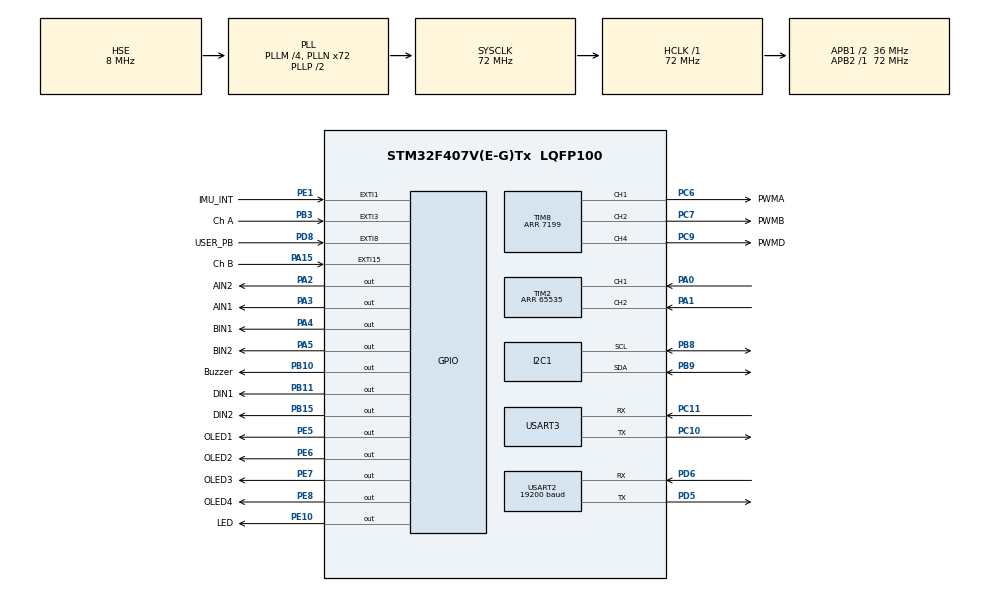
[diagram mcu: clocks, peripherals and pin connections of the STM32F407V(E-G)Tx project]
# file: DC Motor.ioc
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Mcu.Family=STM32F4
Mcu.Name=STM32F407V(E-G)Tx
Mcu.Package=LQFP100
NVIC.EXTI15_10_IRQn=true\:0\:0\:false\:false\:true\:true\:true\:true
NVIC.EXTI1_IRQn=true\:0\:0\:false\:false\:true\:true\:true\:true
NVIC.EXTI3_IRQn=true\:0\:0\:false\:false\:true\:true\:true\:true
NVIC.EXTI9_5_IRQn=true\:0\:0\:false\:false\:true\:true\:true\:true
NVIC.PriorityGroup=NVIC_PRIORITYGROUP_4
NVIC.RCC_IRQn=true\:0\:0\:false\:false\:true\:true\:false\:true
NVIC.TIM2_IRQn=true\:0\:0\:false\:false\:true\:true\:true\:true
NVIC.USART2_IRQn=true\:0\:0\:false\:false\:true\:true\:true\:true
PA0-WKUP.Signal=S_TIM2_CH1_ETR
PA1.Signal=S_TIM2_CH2
PA13.Mode=Serial_Wire
PA13.Signal=SYS_JTMS-SWDIO
PA14.Mode=Serial_Wire
PA14.Signal=SYS_JTCK-SWCLK
PA15.GPIO_Label=Ch B
PA15.GPIO_ModeDefaultEXTI=GPIO_MODE_IT_RISING_FALLING
PA15.Signal=GPXTI15
PA2.GPIO_Label=AIN2
PA2.Signal=GPIO_Output
PA3.GPIO_Label=AIN1
PA3.Signal=GPIO_Output
PA4.GPIO_Label=BIN1
PA4.Signal=GPIO_Output
PA5.GPIO_Label=BIN2
PA5.Signal=GPIO_Output
PB10.GPIO_Label=Buzzer
PB10.Signal=GPIO_Output
PB11.GPIO_Label=DIN1
PB11.Signal=GPIO_Output
PB15.GPIO_Label=DIN2
PB15.Signal=GPIO_Output
PB3.GPIO_Label=Ch A
PB3.GPIO_ModeDefaultEXTI=GPIO_MODE_IT_RISING_FALLING
PB3.Signal=GPXTI3
PB8.Mode=I2C
PB8.Signal=I2C1_SCL
PB9.Mode=I2C
PB9.Signal=I2C1_SDA
PC10.Mode=Asynchronous
PC10.Signal=USART3_TX
PC11.Mode=Asynchronous
PC11.Signal=USART3_RX
PC6.GPIO_Label=PWMA
PC6.Signal=S_TIM8_CH1
PC7.GPIO_Label=PWMB
PC7.Signal=S_TIM8_CH2
PC9.GPIO_Label=PWMD
PC9.Signal=S_TIM8_CH4
PD5.Mode=Asynchronous
PD5.Signal=USART2_TX
PD6.Mode=Asynchronous
PD6.Signal=USART2_RX
PD8.GPIO_Label=USER_PB
PD8.GPIO_ModeDefaultEXTI=GPIO_MODE_IT_RISING
PD8.Signal=GPXTI8
PE1.GPIO_Label=IMU_INT
PE1.Signal=GPXTI1
PE10.GPIO_Label=LED
PE10.Signal=GPIO_Output
PE5.GPIO_Label=OLED1
PE5.Signal=GPIO_Output
PE6.GPIO_Label=OLED2
PE6.Signal=GPIO_Output
PE7.GPIO_Label=OLED3
PE7.Signal=GPIO_Output
PE8.GPIO_Label=OLED4
PE8.Signal=GPIO_Output
PH0-OSC_IN.Mode=HSE-External-Oscillator
PH0-OSC_IN.Signal=RCC_OSC_IN
PH1-OSC_OUT.Mode=HSE-External-Oscillator
PH1-OSC_OUT.Signal=RCC_OSC_OUT
ProjectManager.HeapSize=0x200
ProjectManager.StackSize=0x400
ProjectManager.TargetToolchain=STM32CubeIDE
RCC.48MHZClocksFreq_Value=36000000
RCC.AHBFreq_Value=72000000
RCC.APB1CLKDivider=RCC_HCLK_DIV2
RCC.APB1Freq_Value=36000000
RCC.APB1TimFreq_Value=72000000
RCC.APB2Freq_Value=72000000
RCC.APB2TimFreq_Value=72000000
RCC.CortexFreq_Value=72000000
RCC.HCLKFreq_Value=72000000
RCC.HSE_VALUE=8000000
RCC.HSI_VALUE=16000000
RCC.LSE_VALUE=32768
RCC.PLLM=4
RCC.PLLN=72
RCC.PLLSourceVirtual=RCC_PLLSOURCE_HSE
RCC.SYSCLKFreq_VALUE=72000000
RCC.SYSCLKSource=RCC_SYSCLKSOURCE_PLLCLK
RCC.VCOOutputFreq_Value=144000000
SH.S_TIM2_CH1_ETR.0=TIM2_CH1,Encoder_Interface
SH.S_TIM2_CH2.0=TIM2_CH2,Encoder_Interface
SH.S_TIM8_CH1.0=TIM8_CH1,PWM Generation1 CH1
SH.S_TIM8_CH2.0=TIM8_CH2,PWM Generation2 CH2
SH.S_TIM8_CH4.0=TIM8_CH4,PWM Generation4 CH4
TIM2.AutoReloadPreload=TIM_AUTORELOAD_PRELOAD_DISABLE
TIM2.EncoderMode=TIM_ENCODERMODE_TI12
TIM2.IC1Filter=10
TIM2.IC1Polarity=TIM_ICPOLARITY_FALLING
TIM2.IC2Filter=10
TIM2.IC2Polarity=TIM_ICPOLARITY_FALLING
TIM2.Period=65535
TIM8.Channel-PWM\ Generation1\ CH1=TIM_CHANNEL_1
TIM8.Channel-PWM\ Generation2\ CH2=TIM_CHANNEL_2
TIM8.Channel-PWM\ Generation4\ CH4=TIM_CHANNEL_4
TIM8.Period=7199
USART2.BaudRate=19200
USART2.VirtualMode=VM_ASYNC
USART3.VirtualMode=VM_ASYNC
VP_TIM8_VS_ClockSourceINT.Mode=Internal
board=custom

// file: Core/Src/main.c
/* USER CODE BEGIN Header */
/**
  ******************************************************************************
  * @file           : main.c
  * @brief          : Main program body
  ******************************************************************************
  * @attention
  *
  * Copyright (c) 2022 STMicroelectronics.
  * All rights reserved.
  *
  * This software is licensed under terms that can be found in the LICENSE file
  * in the root directory of this software component.
  * If no LICENSE file comes with this software, it is provided AS-IS.
  *
  ******************************************************************************
  */
/* USER CODE END Header */
#include "main.h"

/* USER CODE BEGIN Includes */
#include "oled.h"
#include <math.h>
#include <stdlib.h>
/* USER CODE END Includes */

 I2C_HandleTypeDef hi2c1;

TIM_HandleTypeDef htim2;
TIM_HandleTypeDef htim8;

UART_HandleTypeDef huart2;
UART_HandleTypeDef huart3;

/* USER CODE BEGIN PV */
#include "oled.h"
#include <math.h>

/* USER CODE END PV */

void SystemClock_Config(void);
static void MX_GPIO_Init(void);
static void MX_I2C1_Init(void);
static void MX_USART3_UART_Init(void);
static void MX_TIM8_Init(void);
static void MX_TIM2_Init(void);
static void MX_USART2_UART_Init(void);

/* USER CODE BEGIN 0 */

uint32_t counter = 0;    // Timer 2 counter
int16_t count = 0;       // Convert counter to signed value
int16_t no_of_tick = 50; // number of tick used in SysTick to calculate speed, in msec
int16_t speed =0;        // speed in term of number of edges detected per Systick
int16_t rpm = 0;         // speed in rpm number of count/sec * 60 sec  divide by 260 count per round
int start=0;             // use to start stop the motor
int16_t pwmVal=0;       //pwm value to control motor speed
int16_t pwmMax = (7200 -1000); // Maximum PWM value = 7200 keep the maximum value too 7000
int err; // status for checking return

char buf[10];    //buffer for displaying values on OLED display

int16_t position = 0;    // position of the motor (1 rotation = 260 count)
extern int16_t oldpos;    // // see SysTick_Handler in stm32f4xx_it.c
int16_t angle = 0;        // angle of rotation, in degree resolution = 360/260
int16_t target_angle = 0; // target angle of rotation,
int16_t position_target; // target position
int16_t error;           // error between target and actual
int32_t error_area = 0;  // area under error - to calculate I for PI implementation
int32_t error_old, error_change;
float_t error_rate; // to calculate D for PID control
int32_t millisOld, millisNow, dt; // to calculate I and D for PID control
int16_t Kp = 0;
float_t Kd = 0;
float_t Ki = 0;

void HAL_TIM_IC_CaptureCallback(TIM_HandleTypeDef *htim){
	counter = __HAL_TIM_GET_COUNTER(htim);
	count = (int16_t)counter;
	position = count/4;  //x1 Encoding
	angle = count/2; // x2 encoding
}

void HAL_GPIO_EXTI_Callback( uint16_t GPIO_Pin ) {

	if ( GPIO_Pin == USER_PB_Pin) {
		// toggle LED
		HAL_GPIO_TogglePin(GPIOE, GPIO_PIN_10); // LED
		if (start == 0){
			start = 1;
		    // reset all value to Zero
		    TIM2->CNT = 0; // Timer Counter Value
		    speed = 0;
		    position = 0;  // see SysTick_Handler in stm32f4xx_it.c
		    oldpos = 0; // see SysTick_Handler in stm32f4xx_it.c
		    angle = 0;
		    pwmVal = 0;
		    }
		else
			start = 0;
 	    }
}

void Motor_direction(uint8_t forward) {
	if (forward){// move forward
		HAL_GPIO_WritePin(GPIOA, AIN1_Pin, GPIO_PIN_SET); // set direction of rotation for wheel A - forward
		HAL_GPIO_WritePin(GPIOA, AIN2_Pin, GPIO_PIN_RESET);
		HAL_GPIO_WritePin(GPIOA, BIN1_Pin, GPIO_PIN_SET); // set direction of rotation for wheel B- forward
		HAL_GPIO_WritePin(GPIOA, BIN2_Pin, GPIO_PIN_RESET);
		HAL_GPIO_WritePin(GPIOB, DIN1_Pin, GPIO_PIN_SET); // set direction of rotation for wheel D- forward
		HAL_GPIO_WritePin(GPIOB, DIN2_Pin, GPIO_PIN_RESET);
	  }
	else { // reverse
	    HAL_GPIO_WritePin(GPIOA, AIN1_Pin, GPIO_PIN_RESET); // set direction of rotation for wheel A - reverse
		HAL_GPIO_WritePin(GPIOA, AIN2_Pin, GPIO_PIN_SET);
	    HAL_GPIO_WritePin(GPIOA, AIN1_Pin, GPIO_PIN_RESET); // set direction of rotation for wheel B - reverse
		HAL_GPIO_WritePin(GPIOA, AIN2_Pin, GPIO_PIN_SET);
		HAL_GPIO_WritePin(GPIOB, DIN1_Pin, GPIO_PIN_RESET); // set direction of rotation for wheel D- reverse
		HAL_GPIO_WritePin(GPIOB, DIN2_Pin, GPIO_PIN_SET);
	}
}

void check_Hall(void){
     while(1){ //checking hall sensor count per revolution on  MotorD connector
		  OLED_ShowString(0, 0, "Encoder Ticks ");
		  //OLED_ShowString(0, 10, "(per turn)");
		  sprintf(buf, "%6d", ((TIM2->CNT)>>2)); // divide by 4 due to 4 edges/interrupts per pole transition
		  OLED_ShowString(25, 10, buf);
		  angle = (int)(position*360/260);
		  OLED_ShowString(0, 30, "Angle = ");
		  sprintf(buf, "%4d", angle);//Hall Sensor = 26 poles/13 pulses, DC motor = 20x13 = 260 pulse per revolution
		  OLED_ShowString(55, 30, buf);
		  OLED_ShowString(0, 50, "Speed =    rpm"); // see SysTick_Handler in stm32f4xx_it.c
		  sprintf(buf, "%4d", speed);//Hall Sensor = 18 poles/9pulses, DC motor = 20x9 = 180 pulse per revolution
		  OLED_ShowString(55, 50, buf);
		  OLED_Refresh_Gram();
	  }
}

int16_t PID_Control(){
	  //Control Loop
	  if (abs(error)>2){ //more than 2 degree difference
		  //HAL_GPIO_TogglePin(GPIOB, GPIO_PIN_10); //Buzzer
    	  angle = (int)(position*360/265);  // supposed to be 260 tick per revolution?
  	      error = target_angle - angle;

        if (error > 0)
      	  Motor_direction(1); //forward
        else
      	  Motor_direction(0); //reverse direction

        millisNow = HAL_GetTick();
        dt = (millisNow - millisOld); // time elapsed in millisecond
        millisOld = millisNow; // store the current time for next round

        error_area = error_area + error*dt; // area under error for Ki

        error_change = error - error_old; // change in error
  	    error_old = error; //store the error for next round
        error_rate = error_change/dt; // for Kd

		pwmVal = (int)(error*Kp + error_area*Ki + error_rate*Kd);  // PID

  	  //pwmVal = 2000;   // overwrite PID above, minimum pwmVal = 1000

		if (pwmVal > pwmMax)  // Clamp the PWM to its maximum value
		   pwmVal = pwmMax;

		return(pwmVal);
    	//__HAL_TIM_SetCompare(&htim8,TIM_CHANNEL_4,pwmVal); // output the valie
	    } // if loop
}

void serial_uart(){
	 // send the values to serial port for display
		  angle = (int)(position*360/265);
		  sprintf(buf, "%4d", angle); //Hall Sensor = 26 poles/13 pulses, DC motor = 20x13 = 260 pulse per revolution
	      OLED_ShowString(50, 10, buf);
	      //send to serial port
	      HAL_UART_Transmit(&huart3, buf, 4, HAL_MAX_DELAY); // Send to Uart3 USB port

	      buf[0]=',';
	      HAL_UART_Transmit(&huart3, buf, 1, HAL_MAX_DELAY); // Send to Uart3 USB port
	      sprintf(buf, "%4d", target_angle);
	   	  HAL_UART_Transmit(&huart3, buf, 4, HAL_MAX_DELAY); // Send to Uart3 USB port

	   	  buf[0]=',';
	   	  HAL_UART_Transmit(&huart3, buf, 1, HAL_MAX_DELAY); // Send to Uart3 USB port
	   	  sprintf(buf, "%4d", error);
	   	  HAL_UART_Transmit(&huart3, buf, 4, HAL_MAX_DELAY); // Send to Uart3 USB port

	   	  buf[0]=',';
	      HAL_UART_Transmit(&huart3, buf, 1, HAL_MAX_DELAY); // Send to Uart3 USB port
	      sprintf(buf, "%4d", pwmVal);
	      HAL_UART_Transmit(&huart3, buf, 4, HAL_MAX_DELAY); // Send to Uart3 USB port
	      OLED_ShowString(40, 20, buf);
	      OLED_Refresh_Gram();

	   	  buf[0]=',';
	   	  HAL_UART_Transmit(&huart3, buf, 1, HAL_MAX_DELAY); // Send to Uart3 USB port
	   	  sprintf(buf, "%5d", error_area);
	   	  HAL_UART_Transmit(&huart3, buf, 5, HAL_MAX_DELAY); // Send to Uart3 USB port

	   	  buf[0]=',';
	   	  HAL_UART_Transmit(&huart3, buf, 1, HAL_MAX_DELAY); // Send to Uart3 USB port
	   	  sprintf(buf, "%3d", err);
	   	  HAL_UART_Transmit(&huart3, buf, 3, HAL_MAX_DELAY); // Send to Uart3 USB port

	   	  buf[0]=',';
	   	  HAL_UART_Transmit(&huart3, buf, 1, HAL_MAX_DELAY); // Send to Uart3 USB port
	   	  sprintf(buf, "%3d", error_rate);
	   	  HAL_UART_Transmit(&huart3, buf, 3, HAL_MAX_DELAY); // Send to Uart3 USB port

	   	  buf[0] = '\r';
	   	  buf[1] = '\n';  // move to next line on serial port
	   	  HAL_UART_Transmit(&huart3, buf, 2, HAL_MAX_DELAY); // Send through BT @9600
}

/* USER CODE END 0 */

int main(void)
{
  /* USER CODE BEGIN 1 */
  uint8_t *oled_buf; // buffer to store value to be display on OLED
  int8_t i; // loop counter

  /* USER CODE END 1 */

  /* MCU Configuration--------------------------------------------------------*/

  /* Reset of all peripherals, Initializes the Flash interface and the Systick. */
  HAL_Init();

  /* Configure the system clock */
  SystemClock_Config();

  /* Initialize all configured peripherals */
  MX_GPIO_Init();
  MX_I2C1_Init();
  MX_USART3_UART_Init();
  MX_TIM8_Init();
  MX_TIM2_Init();
  MX_USART2_UART_Init();
  /* USER CODE BEGIN 2 */

  //start TIM8-PWM to drive the DC motor
  HAL_TIM_PWM_Start(&htim8, TIM_CHANNEL_1);  // on Motor A interface
  HAL_TIM_PWM_Start(&htim8, TIM_CHANNEL_4);  // on Motor D interface

  // start TIM2-Encoder to read Motor rotation in interrupt mode
  // Hall sensors produce 13 ticks/counts per turn, gear ratio = 20
  // 260 count per rotation of output (wheel)
  // 360 degree = 260 ticks/counts
  HAL_TIM_Encoder_Start_IT(&htim2, TIM_CHANNEL_ALL);
  rpm = (int)((1000/no_of_tick) * 60/260);  // For calculating motor rpm - by multiplying it with speed value

  OLED_Init();
  OLED_ShowString(10, 5, "SC2104/CE3002"); // show message on OLED display at line 10)

  oled_buf = "Lab 4"; // anther way to show message through buffer
  OLED_ShowString(40,30, oled_buf); //another message at line 50

  oled_buf = "DC Motor"; // anther way to show message through buffer
  OLED_ShowString(30,50, oled_buf); //another message at line 50

  uint8_t sbuf[] = "SC2104\n\r";  // send to serial port
  HAL_UART_Transmit(&huart3, sbuf, sizeof(sbuf), HAL_MAX_DELAY); // Send through Serial Port @115200
  //HAL_UART_Transmit(&huart2, sbuf, sizeof(sbuf), HAL_MAX_DELAY); // Send through BT @9600

  OLED_Refresh_Gram();
  HAL_Delay(2000); // pause for 2 second to show message
  OLED_Clear(); // get display ready

  /* USER CODE END 2 */

  /* Infinite loop */
  /* USER CODE BEGIN WHILE */
  start = 0;
  angle = 0;
  target_angle = 720; // rotate 720 degree
  error = target_angle - angle;
  error_old = 0;
  error_area = 0;

  // motor drive here
  OLED_Clear();
  OLED_ShowString(0, 0, "Target: ");
  OLED_ShowString(0, 10, "Rotated:");
  OLED_ShowString(0, 20, "PWM:+");
  sprintf(buf, "%4d", target_angle);//Hall Sensor = 26 poles/13 pulses, DC motor = 20x13 = 260 pulse per revolution
  OLED_ShowString(50, 0, buf);
  OLED_Refresh_Gram();

  Kp = 20;       // 10
  Ki = 0.002;   // 0.001
  Kd = 1000;
  millisOld = HAL_GetTick(); // get time value before starting - for PID

  start = 1; // do a step response upon reset and power up

  while (1)
  {
	  if (start==0){ // reset and wait for the User PB to be pressed
    	  pwmVal = 0;
      	  __HAL_TIM_SetCompare(&htim8,TIM_CHANNEL_4,pwmVal);
    	  HAL_GPIO_TogglePin(GPIOE, GPIO_PIN_10); // LED
    	  //OLED_Clear(); // get display ready
    	  OLED_ShowString(15, 40, "Press User"); // show message on OLED display at line 40)
    	  OLED_ShowString(0, 50, "button to start"); // show message on OLED display at line 50)
    	  OLED_Refresh_Gram();
    	  err = 0;// for checking whether error has settle down near to zero
    	  angle = 0;
    	  error_old = 0;
    	  error_area = 0;
    	  error = target_angle - angle;
	      }
	  while (start==0){ //wait for the User PB to be pressed
    	  HAL_Delay(500);
    	  millisOld = HAL_GetTick(); // get time value before starting - for PID
		  }

	  pwmVal = PID_Control(); // call the PID control loop calculation
//	  pwmVal = 2000;          // overwrite PID control above, minimum pwmVal = 1000?
	  __HAL_TIM_SetCompare(&htim8,TIM_CHANNEL_4,pwmVal); // output PWM waveform to drive motor

	  if (abs(error) < 3){ // error is less than 3 deg
	      err++; // to keep track how long it has reached steady state
	      angle = (int)(position*360/260);  //calculate the angle
	      error = target_angle - angle; // calculate the error
	      }

	  serial_uart(); // send the various data to the serial port for display

      if (err > 5) { // error has settled to within the acceptance ranges
	   	 pwmVal = 0; //stop
   	     __HAL_TIM_SetCompare(&htim8,TIM_CHANNEL_4,pwmVal);
   	     //continue to send the data values for display
   	     for (i=0; i<50; i++)
   	    	serial_uart();

   	     start = 0;  // wait for PB to restart
		 HAL_GPIO_TogglePin(GPIOB, GPIO_PIN_10); //Buzzer On
   	     HAL_Delay(500);
		 HAL_GPIO_TogglePin(GPIOB, GPIO_PIN_10); //Buzzer Off
         }

      //HAL_Delay(50);
    /* USER CODE END WHILE */

    /* USER CODE BEGIN 3 */
  } // while
  /* USER CODE END 3 */
}// main

void SystemClock_Config(void)
{
  RCC_OscInitTypeDef RCC_OscInitStruct = {0};
  RCC_ClkInitTypeDef RCC_ClkInitStruct = {0};

  /** Configure the main internal regulator output voltage
  */
  __HAL_RCC_PWR_CLK_ENABLE();
  __HAL_PWR_VOLTAGESCALING_CONFIG(PWR_REGULATOR_VOLTAGE_SCALE1);

  /** Initializes the RCC Oscillators according to the specified parameters
  * in the RCC_OscInitTypeDef structure.
  */
  RCC_OscInitStruct.OscillatorType = RCC_OSCILLATORTYPE_HSE;
  RCC_OscInitStruct.HSEState = RCC_HSE_ON;
  RCC_OscInitStruct.PLL.PLLState = RCC_PLL_ON;
  RCC_OscInitStruct.PLL.PLLSource = RCC_PLLSOURCE_HSE;
  RCC_OscInitStruct.PLL.PLLM = 4;
  RCC_OscInitStruct.PLL.PLLN = 72;
  RCC_OscInitStruct.PLL.PLLP = RCC_PLLP_DIV2;
  RCC_OscInitStruct.PLL.PLLQ = 4;
  if (HAL_RCC_OscConfig(&RCC_OscInitStruct) != HAL_OK)
  {
    Error_Handler();
  }

  /** Initializes the CPU, AHB and APB buses clocks
  */
  RCC_ClkInitStruct.ClockType = RCC_CLOCKTYPE_HCLK|RCC_CLOCKTYPE_SYSCLK
                              |RCC_CLOCKTYPE_PCLK1|RCC_CLOCKTYPE_PCLK2;
  RCC_ClkInitStruct.SYSCLKSource = RCC_SYSCLKSOURCE_PLLCLK;
  RCC_ClkInitStruct.AHBCLKDivider = RCC_SYSCLK_DIV1;
  RCC_ClkInitStruct.APB1CLKDivider = RCC_HCLK_DIV2;
  RCC_ClkInitStruct.APB2CLKDivider = RCC_HCLK_DIV1;

  if (HAL_RCC_ClockConfig(&RCC_ClkInitStruct, FLASH_LATENCY_2) != HAL_OK)
  {
    Error_Handler();
  }
}

static void MX_I2C1_Init(void)
{

  hi2c1.Instance = I2C1;
  hi2c1.Init.ClockSpeed = 100000;
  hi2c1.Init.DutyCycle = I2C_DUTYCYCLE_2;
  hi2c1.Init.OwnAddress1 = 0;
  hi2c1.Init.AddressingMode = I2C_ADDRESSINGMODE_7BIT;
  hi2c1.Init.DualAddressMode = I2C_DUALADDRESS_DISABLE;
  hi2c1.Init.OwnAddress2 = 0;
  hi2c1.Init.GeneralCallMode = I2C_GENERALCALL_DISABLE;
  hi2c1.Init.NoStretchMode = I2C_NOSTRETCH_DISABLE;
  if (HAL_I2C_Init(&hi2c1) != HAL_OK)
  {
    Error_Handler();
  }

}

static void MX_TIM2_Init(void)
{

  TIM_Encoder_InitTypeDef sConfig = {0};
  TIM_MasterConfigTypeDef sMasterConfig = {0};

  htim2.Instance = TIM2;
  htim2.Init.Prescaler = 0;
  htim2.Init.CounterMode = TIM_COUNTERMODE_UP;
  htim2.Init.Period = 65535;
  htim2.Init.ClockDivision = TIM_CLOCKDIVISION_DIV1;
  htim2.Init.AutoReloadPreload = TIM_AUTORELOAD_PRELOAD_DISABLE;
  sConfig.EncoderMode = TIM_ENCODERMODE_TI12;
  sConfig.IC1Polarity = TIM_ICPOLARITY_FALLING;
  sConfig.IC1Selection = TIM_ICSELECTION_DIRECTTI;
  sConfig.IC1Prescaler = TIM_ICPSC_DIV1;
  sConfig.IC1Filter = 10;
  sConfig.IC2Polarity = TIM_ICPOLARITY_FALLING;
  sConfig.IC2Selection = TIM_ICSELECTION_DIRECTTI;
  sConfig.IC2Prescaler = TIM_ICPSC_DIV1;
  sConfig.IC2Filter = 10;
  if (HAL_TIM_Encoder_Init(&htim2, &sConfig) != HAL_OK)
  {
    Error_Handler();
  }
  sMasterConfig.MasterOutputTrigger = TIM_TRGO_RESET;
  sMasterConfig.MasterSlaveMode = TIM_MASTERSLAVEMODE_DISABLE;
  if (HAL_TIMEx_MasterConfigSynchronization(&htim2, &sMasterConfig) != HAL_OK)
  {
    Error_Handler();
  }

}

static void MX_TIM8_Init(void)
{

  TIM_ClockConfigTypeDef sClockSourceConfig = {0};
  TIM_MasterConfigTypeDef sMasterConfig = {0};
  TIM_OC_InitTypeDef sConfigOC = {0};
  TIM_BreakDeadTimeConfigTypeDef sBreakDeadTimeConfig = {0};

  htim8.Instance = TIM8;
  htim8.Init.Prescaler = 0;
  htim8.Init.CounterMode = TIM_COUNTERMODE_UP;
  htim8.Init.Period = 7199;
  htim8.Init.ClockDivision = TIM_CLOCKDIVISION_DIV1;
  htim8.Init.RepetitionCounter = 0;
  htim8.Init.AutoReloadPreload = TIM_AUTORELOAD_PRELOAD_DISABLE;
  if (HAL_TIM_Base_Init(&htim8) != HAL_OK)
  {
    Error_Handler();
  }
  sClockSourceConfig.ClockSource = TIM_CLOCKSOURCE_INTERNAL;
  if (HAL_TIM_ConfigClockSource(&htim8, &sClockSourceConfig) != HAL_OK)
  {
    Error_Handler();
  }
  if (HAL_TIM_PWM_Init(&htim8) != HAL_OK)
  {
    Error_Handler();
  }
  sMasterConfig.MasterOutputTrigger = TIM_TRGO_RESET;
  sMasterConfig.MasterSlaveMode = TIM_MASTERSLAVEMODE_DISABLE;
  if (HAL_TIMEx_MasterConfigSynchronization(&htim8, &sMasterConfig) != HAL_OK)
  {
    Error_Handler();
  }
  sConfigOC.OCMode = TIM_OCMODE_PWM1;
  sConfigOC.Pulse = 0;
  sConfigOC.OCPolarity = TIM_OCPOLARITY_HIGH;
  sConfigOC.OCNPolarity = TIM_OCNPOLARITY_HIGH;
  sConfigOC.OCFastMode = TIM_OCFAST_DISABLE;
  sConfigOC.OCIdleState = TIM_OCIDLESTATE_RESET;
  sConfigOC.OCNIdleState = TIM_OCNIDLESTATE_RESET;
  if (HAL_TIM_PWM_ConfigChannel(&htim8, &sConfigOC, TIM_CHANNEL_1) != HAL_OK)
  {
    Error_Handler();
  }
  if (HAL_TIM_PWM_ConfigChannel(&htim8, &sConfigOC, TIM_CHANNEL_2) != HAL_OK)
  {
    Error_Handler();
  }
  if (HAL_TIM_PWM_ConfigChannel(&htim8, &sConfigOC, TIM_CHANNEL_4) != HAL_OK)
  {
    Error_Handler();
  }
  sBreakDeadTimeConfig.OffStateRunMode = TIM_OSSR_DISABLE;
  sBreakDeadTimeConfig.OffStateIDLEMode = TIM_OSSI_DISABLE;
  sBreakDeadTimeConfig.LockLevel = TIM_LOCKLEVEL_OFF;
  sBreakDeadTimeConfig.DeadTime = 0;
  sBreakDeadTimeConfig.BreakState = TIM_BREAK_DISABLE;
  sBreakDeadTimeConfig.BreakPolarity = TIM_BREAKPOLARITY_HIGH;
  sBreakDeadTimeConfig.AutomaticOutput = TIM_AUTOMATICOUTPUT_DISABLE;
  if (HAL_TIMEx_ConfigBreakDeadTime(&htim8, &sBreakDeadTimeConfig) != HAL_OK)
  {
    Error_Handler();
  }
  HAL_TIM_MspPostInit(&htim8);

}

static void MX_USART2_UART_Init(void)
{

  huart2.Instance = USART2;
  huart2.Init.BaudRate = 19200;
  huart2.Init.WordLength = UART_WORDLENGTH_8B;
  huart2.Init.StopBits = UART_STOPBITS_1;
  huart2.Init.Parity = UART_PARITY_NONE;
  huart2.Init.Mode = UART_MODE_TX_RX;
  huart2.Init.HwFlowCtl = UART_HWCONTROL_NONE;
  huart2.Init.OverSampling = UART_OVERSAMPLING_16;
  if (HAL_UART_Init(&huart2) != HAL_OK)
  {
    Error_Handler();
  }

}

static void MX_USART3_UART_Init(void)
{

  huart3.Instance = USART3;
  huart3.Init.BaudRate = 115200;
  huart3.Init.WordLength = UART_WORDLENGTH_8B;
  huart3.Init.StopBits = UART_STOPBITS_1;
  huart3.Init.Parity = UART_PARITY_NONE;
  huart3.Init.Mode = UART_MODE_TX_RX;
  huart3.Init.HwFlowCtl = UART_HWCONTROL_NONE;
  huart3.Init.OverSampling = UART_OVERSAMPLING_16;
  if (HAL_UART_Init(&huart3) != HAL_OK)
  {
    Error_Handler();
  }

}

static void MX_GPIO_Init(void)
{
  GPIO_InitTypeDef GPIO_InitStruct = {0};

  /* GPIO Ports Clock Enable */
  __HAL_RCC_GPIOE_CLK_ENABLE();
  __HAL_RCC_GPIOH_CLK_ENABLE();
  __HAL_RCC_GPIOA_CLK_ENABLE();
  __HAL_RCC_GPIOB_CLK_ENABLE();
  __HAL_RCC_GPIOD_CLK_ENABLE();
  __HAL_RCC_GPIOC_CLK_ENABLE();

  /*Configure GPIO pin Output Level */
  HAL_GPIO_WritePin(GPIOE, OLED1_Pin|OLED2_Pin|OLED3_Pin|OLED4_Pin
                          |LED_Pin, GPIO_PIN_RESET);

  /*Configure GPIO pin Output Level */
  HAL_GPIO_WritePin(GPIOA, AIN2_Pin|AIN1_Pin|BIN1_Pin|BIN2_Pin, GPIO_PIN_RESET);

  /*Configure GPIO pin Output Level */
  HAL_GPIO_WritePin(GPIOB, Buzzer_Pin|DIN1_Pin|DIN2_Pin, GPIO_PIN_RESET);

  /*Configure GPIO pins : OLED1_Pin OLED2_Pin OLED3_Pin OLED4_Pin
                           LED_Pin */
  GPIO_InitStruct.Pin = OLED1_Pin|OLED2_Pin|OLED3_Pin|OLED4_Pin
                          |LED_Pin;
  GPIO_InitStruct.Mode = GPIO_MODE_OUTPUT_PP;
  GPIO_InitStruct.Pull = GPIO_NOPULL;
  GPIO_InitStruct.Speed = GPIO_SPEED_FREQ_LOW;
  HAL_GPIO_Init(GPIOE, &GPIO_InitStruct);

  /*Configure GPIO pins : AIN2_Pin AIN1_Pin BIN1_Pin BIN2_Pin */
  GPIO_InitStruct.Pin = AIN2_Pin|AIN1_Pin|BIN1_Pin|BIN2_Pin;
  GPIO_InitStruct.Mode = GPIO_MODE_OUTPUT_PP;
  GPIO_InitStruct.Pull = GPIO_NOPULL;
  GPIO_InitStruct.Speed = GPIO_SPEED_FREQ_LOW;
  HAL_GPIO_Init(GPIOA, &GPIO_InitStruct);

  /*Configure GPIO pins : Buzzer_Pin DIN1_Pin DIN2_Pin */
  GPIO_InitStruct.Pin = Buzzer_Pin|DIN1_Pin|DIN2_Pin;
  GPIO_InitStruct.Mode = GPIO_MODE_OUTPUT_PP;
  GPIO_InitStruct.Pull = GPIO_NOPULL;
  GPIO_InitStruct.Speed = GPIO_SPEED_FREQ_LOW;
  HAL_GPIO_Init(GPIOB, &GPIO_InitStruct);

  /*Configure GPIO pin : USER_PB_Pin */
  GPIO_InitStruct.Pin = USER_PB_Pin;
  GPIO_InitStruct.Mode = GPIO_MODE_IT_RISING;
  GPIO_InitStruct.Pull = GPIO_NOPULL;
  HAL_GPIO_Init(USER_PB_GPIO_Port, &GPIO_InitStruct);

  /*Configure GPIO pin : Ch_B_Pin */
  GPIO_InitStruct.Pin = Ch_B_Pin;
  GPIO_InitStruct.Mode = GPIO_MODE_IT_RISING_FALLING;
  GPIO_InitStruct.Pull = GPIO_NOPULL;
  HAL_GPIO_Init(Ch_B_GPIO_Port, &GPIO_InitStruct);

  /*Configure GPIO pin : Ch_A_Pin */
  GPIO_InitStruct.Pin = Ch_A_Pin;
  GPIO_InitStruct.Mode = GPIO_MODE_IT_RISING_FALLING;
  GPIO_InitStruct.Pull = GPIO_NOPULL;
  HAL_GPIO_Init(Ch_A_GPIO_Port, &GPIO_InitStruct);

  /*Configure GPIO pin : IMU_INT_Pin */
  GPIO_InitStruct.Pin = IMU_INT_Pin;
  GPIO_InitStruct.Mode = GPIO_MODE_IT_RISING;
  GPIO_InitStruct.Pull = GPIO_NOPULL;
  HAL_GPIO_Init(IMU_INT_GPIO_Port, &GPIO_InitStruct);

  /* EXTI interrupt init*/
  HAL_NVIC_SetPriority(EXTI1_IRQn, 0, 0);
  HAL_NVIC_EnableIRQ(EXTI1_IRQn);

  HAL_NVIC_SetPriority(EXTI3_IRQn, 0, 0);
  HAL_NVIC_EnableIRQ(EXTI3_IRQn);

  HAL_NVIC_SetPriority(EXTI9_5_IRQn, 0, 0);
  HAL_NVIC_EnableIRQ(EXTI9_5_IRQn);

  HAL_NVIC_SetPriority(EXTI15_10_IRQn, 0, 0);
  HAL_NVIC_EnableIRQ(EXTI15_10_IRQn);

}

/* USER CODE BEGIN 4 */
/*
void OLED_show(void *argument, int y, int x) // display message on OLED panel
{
	//uint8_t hello[20]="Hello World";
	OLED_Init();
	OLED_Display_On();
//	OLED_ShowString(10,10,argument);
	OLED_ShowString(y, x, argument);
	OLED_Refresh_Gram();
}
*/

/* USER CODE END 4 */

void Error_Handler(void)
{
  __disable_irq();
  while (1)
  {
  }
}
